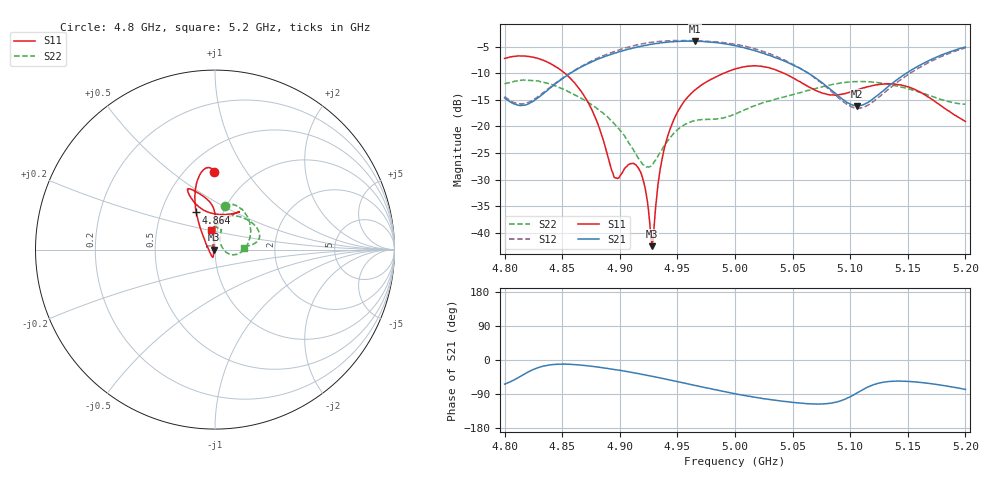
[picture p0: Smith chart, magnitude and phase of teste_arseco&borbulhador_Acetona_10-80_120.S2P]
! Network Analyzer HP8722D
! Hewlett-Packard
! Data name: Linha & Wilkinson
! Saver's name: Rodrigo Anjos
! Comments: Teste da utilização de aquisição
! continua pelo VNA HP8722D
! Time and date: 25/4/2025 16:16
!  Frequency  S11  S21  S12  S22
# HZ  S  MA R 50
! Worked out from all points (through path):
!   401 points, 4.8 GHz to 5.2 GHz, reference 50 ohm
!   highest |S21| = -3.97 dB at 4.965 GHz (marker M1); lowest = -16.1 dB at 5.106 GHz (marker M2)
!   lowest |S11| = -42.5 dB at 4.928 GHz (marker M3), VSWR 1.02, Z = 49.3 - j0.0637 ohm
!   |S11| at or under -10 dB: 4.852 GHz to 4.991 GHz (138.4 MHz wide, 2.81 % of centre); 5.042 GHz to end of sweep
!   |S22| runs from -27.6 to -11.3 dB; largest |S21 - S12| = 1.2
!   S11 on the Smith chart (normalised r, x): 4.8 GHz: 0.68, +0.73; 4.864 GHz: 0.75, +0.33; 5.2 GHz: 0.94, +0.21
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4.8e9  0.4348 90.6  0.1851 -63.6  0.1905 69.8  0.2496 77.1
4.82e9  0.4533 97.0  0.1614 -32.2  0.1672 98.6  0.2721 61.7
4.864e9  0.232 116.8  0.35 -12.9  0.3534 121.1  0.1895 12.1
4.867e9  0.2093 118.4  0.3637 -13.8  0.3678 120.6  0.1826 8.6
4.88e9  0.112 128.8  0.4239 -18.4  0.4332 118.3  0.1478 -5.3
4.896e9  0.03282 -166.3  0.4894 -25.4  0.5074 113.2  0.1039 -16.0
4.91e9  0.04473 -107.5  0.5379 -32.4  0.5648 107.2  0.06401 -13.9
4.917e9  0.03912 -104.2  0.5609 -36.4  0.5901 103.4  0.04866 -0.4
4.922e9  0.0263 -108.0  0.575 -39.4  0.6017 100.8  0.04224 16.7
4.928e9  0.007527 -175.1  0.5917 -42.9  0.6166 97.1  0.04406 41.3
4.93e9  0.01229 124.3  0.5953 -44.2  0.6193 95.7  0.04681 48.0
4.934e9  0.03335 100.7  0.6027 -46.9  0.628 93.2  0.05501 58.6
4.939e9  0.06425 93.8  0.6137 -50.0  0.6337 90.0  0.06651 65.7
4.946e9  0.1098 90.1  0.6233 -54.5  0.6382 85.6  0.08416 70.1
4.965e9  0.2188 91.1  0.6329 -67.0  0.6367 73.3  0.1138 71.5
5e9  0.3461 109.1  0.5729 -89.1  0.5925 50.8  0.1302 88.5
5.029e9  0.3565 115.1  0.4678 -103.8  0.4856 34.4  0.1724 85.7
5.067e9  0.2262 105.4  0.2999 -115.8  0.2974 23.6  0.2221 57.1
5.106e9  0.22 64.7  0.1561 -86.8  0.1483 56.2  0.2634 24.8
5.134e9  0.2511 57.3  0.2418 -56.7  0.2271 88.7  0.2476 12.4
5.169e9  0.1853 70.1  0.4182 -62.0  0.4021 84.8  0.1947 6.9
5.2e9  0.1113 100.6  0.555 -77.6  0.5444 70.1  0.1613 3.9
